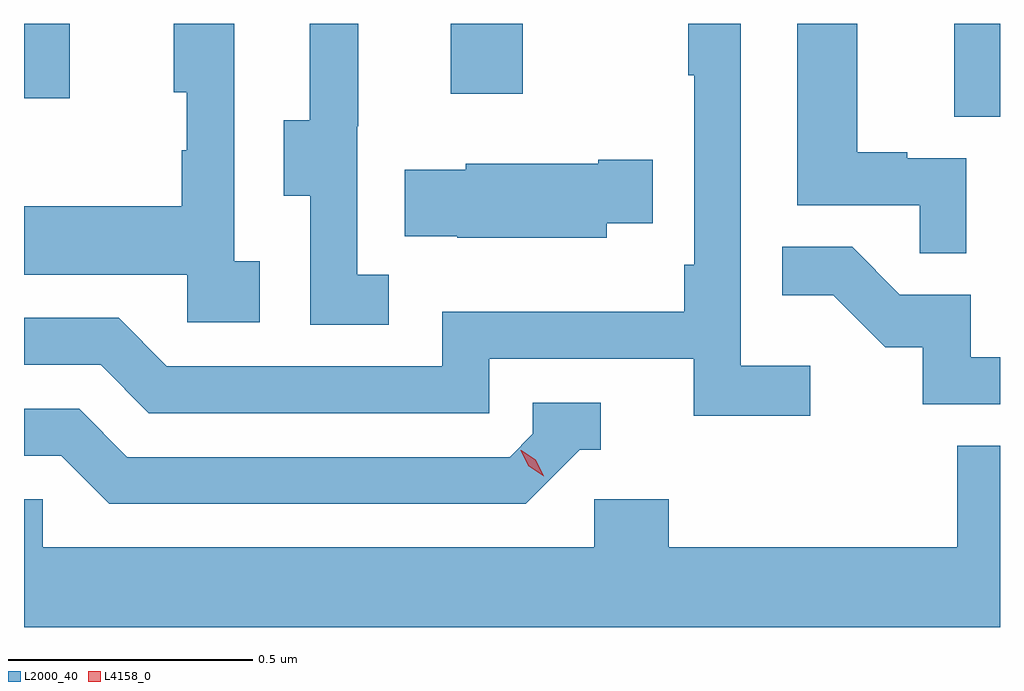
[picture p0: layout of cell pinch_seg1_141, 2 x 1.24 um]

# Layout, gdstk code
import gdstk
lib = gdstk.Library(unit=1e-6, precision=1e-09)
def R(c, l, rs):  # rectangles x0, y0, x1, y1
    for r in rs: c.add(gdstk.rectangle(r[:2], r[2:], *l))
def P(c, l, *ps):  # polygons
    for p in ps: c.add(gdstk.Polygon(p, *l))
L2000_40 = (2000, 40)
L4158_0 = (4158, 0)

pinch_seg1_141 = lib.new_cell('pinch_seg1_141')
R(pinch_seg1_141, L2000_40, [(1035.923,558.106,1036.017,558.297), (1034.017,558.144,1034.111,558.297), (1034.891,558.153,1035.039,558.297)])
P(pinch_seg1_141, L2000_40, [(1035.628,557.596),(1035.486,557.596),(1035.486,558.297),(1035.378,558.297),(1035.378,558.191),(1035.39,558.191),(1035.39,557.803),(1035.37,557.803),(1035.37,557.707),(1034.874,557.707),(1034.874,557.595),(1034.31,557.595),(1034.211,557.694),(1034.017,557.694),(1034.017,557.598),(1034.174,557.598),(1034.273,557.499),(1034.97,557.499),(1034.97,557.61),(1035.389,557.61),(1035.389,557.494),(1035.628,557.494)],
  [(1035.948,558.021),(1035.827,558.021),(1035.827,558.034),(1035.724,558.034),(1035.724,558.297),(1035.602,558.297),(1035.602,557.925),(1035.853,557.925),(1035.853,557.827),(1035.948,557.827)],
  [(1034.5,557.81),(1034.448,557.81),(1034.448,558.297),(1034.324,558.297),(1034.324,558.156),(1034.35,558.156),(1034.35,558.038),(1034.34,558.038),(1034.34,557.923),(1034.017,557.923),(1034.017,557.783),(1034.352,557.783),(1034.352,557.685),(1034.5,557.685)],
  [(1034.764,557.783),(1034.7,557.783),(1034.7,558.087),(1034.702,558.087),(1034.702,558.297),(1034.603,558.297),(1034.603,558.099),(1034.549,558.099),(1034.549,557.944),(1034.604,557.944),(1034.604,557.68),(1034.764,557.68)],
  [(1035.211,557.888),(1035.305,557.888),(1035.305,558.018),(1035.194,558.018),(1035.194,558.01),(1034.922,558.01),(1034.922,557.998),(1034.797,557.998),(1034.797,557.861),(1034.905,557.861),(1034.905,557.858),(1035.211,557.858)],
  [(1036.017,557.613),(1035.957,557.613),(1035.957,557.742),(1035.812,557.742),(1035.714,557.84),(1035.571,557.84),(1035.571,557.741),(1035.675,557.741),(1035.782,557.634),(1035.859,557.634),(1035.859,557.517),(1036.017,557.517)],
  [(1035.156,557.424),(1035.199,557.424),(1035.199,557.52),(1035.06,557.52),(1035.06,557.457),(1035.012,557.409),(1034.229,557.409),(1034.13,557.508),(1034.017,557.508),(1034.017,557.412),(1034.093,557.412),(1034.192,557.313),(1035.045,557.313)],
  [(1036.017,557.432),(1035.929,557.432),(1035.929,557.224),(1035.338,557.224),(1035.338,557.322),(1035.186,557.322),(1035.186,557.224),(1034.055,557.224),(1034.055,557.322),(1034.017,557.322),(1034.017,557.06),(1036.017,557.06)])
P(pinch_seg1_141, L4158_0, [(1035.082,557.37),(1035.051,557.39),(1035.035,557.422),(1035.035,557.423),(1035.036,557.423),(1035.066,557.403),(1035.082,557.37),(1035.082,557.37)])

lib.write_gds('pinch_seg1_141.gds')
